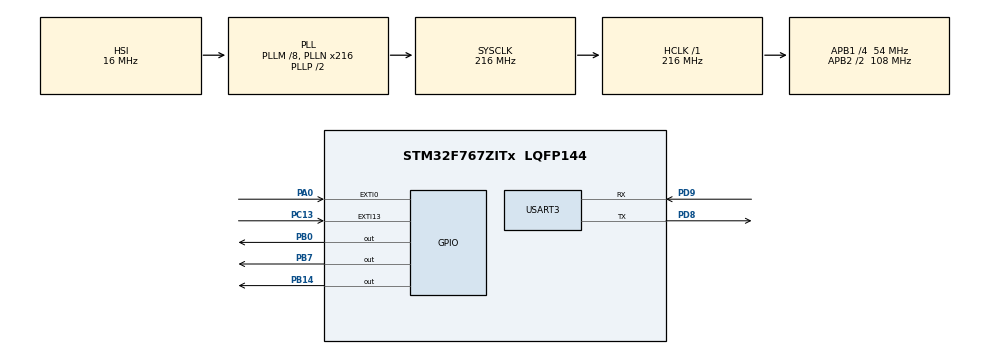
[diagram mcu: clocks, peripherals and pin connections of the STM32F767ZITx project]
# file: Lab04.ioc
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CORTEX_M7.default_mode_Activation=1
Mcu.Family=STM32F7
Mcu.Name=STM32F767ZITx
Mcu.Package=LQFP144
NVIC.EXTI0_IRQn=true\:1\:0\:true\:false\:true\:true\:true\:true
NVIC.EXTI15_10_IRQn=true\:1\:1\:true\:false\:true\:true\:true\:true
NVIC.PriorityGroup=NVIC_PRIORITYGROUP_1
PA0/WKUP.GPIO_ModeDefaultEXTI=GPIO_MODE_IT_FALLING
PA0/WKUP.Signal=GPXTI0
PB0.Signal=GPIO_Output
PB14.Signal=GPIO_Output
PB7.Signal=GPIO_Output
PC13.Signal=GPXTI13
PD8.Mode=Asynchronous
PD8.Signal=USART3_TX
PD9.Mode=Asynchronous
PD9.Signal=USART3_RX
ProjectManager.HeapSize=0x200
ProjectManager.StackSize=0x400
ProjectManager.TargetToolchain=STM32CubeIDE
RCC.AHBFreq_Value=216000000
RCC.APB1CLKDivider=RCC_HCLK_DIV4
RCC.APB1Freq_Value=54000000
RCC.APB1TimFreq_Value=108000000
RCC.APB2CLKDivider=RCC_HCLK_DIV2
RCC.APB2Freq_Value=108000000
RCC.APB2TimFreq_Value=216000000
RCC.CortexFreq_Value=216000000
RCC.HCLKFreq_Value=216000000
RCC.HSE_VALUE=25000000
RCC.HSI_VALUE=16000000
RCC.LSE_VALUE=32768
RCC.PLLM=8
RCC.PLLN=216
RCC.SYSCLKFreq_VALUE=216000000
RCC.SYSCLKSource=RCC_SYSCLKSOURCE_PLLCLK
RCC.USBFreq_Value=216000000
RCC.VCOOutputFreq_Value=432000000
USART3.VirtualMode-Asynchronous=VM_ASYNC
board=custom

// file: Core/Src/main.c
/* USER CODE BEGIN Header */
/**
  ******************************************************************************
  * @file           : main.c
  * @brief          : Main program body
  ******************************************************************************
  * @attention
  *
  * Copyright (c) 2025 STMicroelectronics.
  * All rights reserved.
  *
  * This software is licensed under terms that can be found in the LICENSE file
  * in the root directory of this software component.
  * If no LICENSE file comes with this software, it is provided AS-IS.
  *
  ******************************************************************************
  */
/* USER CODE END Header */
#include "main.h"
#include "usart.h"
#include "gpio.h"

/* USER CODE BEGIN Includes */
#include "string.h"
/* USER CODE END Includes */

void SystemClock_Config(void);
static void MPU_Config(void);

int main(void)
{

  /* MPU Configuration--------------------------------------------------------*/
  MPU_Config();

  /* MCU Configuration--------------------------------------------------------*/

  /* Reset of all peripherals, Initializes the Flash interface and the Systick. */
  HAL_Init();

  /* Configure the system clock */
  SystemClock_Config();

  /* Initialize all configured peripherals */
  MX_GPIO_Init();
  MX_USART3_UART_Init();
  /* USER CODE BEGIN 2 */
  HAL_Delay(500);
  /* USER CODE END 2 */

  /* Infinite loop */
  while (1)
  {

    /* USER CODE BEGIN 3 */
//	  HAL_GPIO_WritePin(GPIOB, GPIO_PIN_14, GPIO_PIN_RESET);
	  while(__HAL_UART_GET_FLAG(&huart3,UART_FLAG_TC)==RESET){}
	  HAL_UART_Transmit(&huart3,(uint8_t *) ".", 1, 100);
	  HAL_Delay(400);
  }
  /* USER CODE END 3 */
}

void SystemClock_Config(void)
{
  RCC_OscInitTypeDef RCC_OscInitStruct = {0};
  RCC_ClkInitTypeDef RCC_ClkInitStruct = {0};

  /** Configure the main internal regulator output voltage
  */
  __HAL_RCC_PWR_CLK_ENABLE();
  __HAL_PWR_VOLTAGESCALING_CONFIG(PWR_REGULATOR_VOLTAGE_SCALE1);

  /** Initializes the RCC Oscillators according to the specified parameters
  * in the RCC_OscInitTypeDef structure.
  */
  RCC_OscInitStruct.OscillatorType = RCC_OSCILLATORTYPE_HSI;
  RCC_OscInitStruct.HSIState = RCC_HSI_ON;
  RCC_OscInitStruct.HSICalibrationValue = RCC_HSICALIBRATION_DEFAULT;
  RCC_OscInitStruct.PLL.PLLState = RCC_PLL_ON;
  RCC_OscInitStruct.PLL.PLLSource = RCC_PLLSOURCE_HSI;
  RCC_OscInitStruct.PLL.PLLM = 8;
  RCC_OscInitStruct.PLL.PLLN = 216;
  RCC_OscInitStruct.PLL.PLLP = RCC_PLLP_DIV2;
  RCC_OscInitStruct.PLL.PLLQ = 2;
  RCC_OscInitStruct.PLL.PLLR = 2;
  if (HAL_RCC_OscConfig(&RCC_OscInitStruct) != HAL_OK)
  {
    Error_Handler();
  }

  /** Activate the Over-Drive mode
  */
  if (HAL_PWREx_EnableOverDrive() != HAL_OK)
  {
    Error_Handler();
  }

  /** Initializes the CPU, AHB and APB buses clocks
  */
  RCC_ClkInitStruct.ClockType = RCC_CLOCKTYPE_HCLK|RCC_CLOCKTYPE_SYSCLK
                              |RCC_CLOCKTYPE_PCLK1|RCC_CLOCKTYPE_PCLK2;
  RCC_ClkInitStruct.SYSCLKSource = RCC_SYSCLKSOURCE_PLLCLK;
  RCC_ClkInitStruct.AHBCLKDivider = RCC_SYSCLK_DIV1;
  RCC_ClkInitStruct.APB1CLKDivider = RCC_HCLK_DIV4;
  RCC_ClkInitStruct.APB2CLKDivider = RCC_HCLK_DIV2;

  if (HAL_RCC_ClockConfig(&RCC_ClkInitStruct, FLASH_LATENCY_7) != HAL_OK)
  {
    Error_Handler();
  }
}

/* USER CODE BEGIN 4 */
void HAL_GPIO_EXTI_Callback(uint16_t GPIO_Pin) {
	if (GPIO_Pin == GPIO_PIN_13) {
		HAL_UART_Transmit(&huart3, (uint8_t *) "---", 3, 1000);
		HAL_Delay(200);

		char ch1 = 'B';
		for(int i=0; i<20; i++)
		{
		HAL_UART_Transmit(&huart3, &ch1, 1, 1000);
		HAL_Delay(200);
		}
	}
	if (GPIO_Pin == GPIO_PIN_0) {
		HAL_UART_Transmit(&huart3, (uint8_t *) "---", 3, 1000);
		HAL_Delay(200);

		char ch1 = 'E';
		for(int i=0; i<20; i++)
		{
		HAL_UART_Transmit(&huart3, &ch1, 1, 1000);
		HAL_Delay(200);
		}
	}
}
/* USER CODE END 4 */

 /* MPU Configuration */

void MPU_Config(void)
{
  MPU_Region_InitTypeDef MPU_InitStruct = {0};

  /* Disables the MPU */
  HAL_MPU_Disable();

  /** Initializes and configures the Region and the memory to be protected
  */
  MPU_InitStruct.Enable = MPU_REGION_ENABLE;
  MPU_InitStruct.Number = MPU_REGION_NUMBER0;
  MPU_InitStruct.BaseAddress = 0x0;
  MPU_InitStruct.Size = MPU_REGION_SIZE_4GB;
  MPU_InitStruct.SubRegionDisable = 0x87;
  MPU_InitStruct.TypeExtField = MPU_TEX_LEVEL0;
  MPU_InitStruct.AccessPermission = MPU_REGION_NO_ACCESS;
  MPU_InitStruct.DisableExec = MPU_INSTRUCTION_ACCESS_DISABLE;
  MPU_InitStruct.IsShareable = MPU_ACCESS_SHAREABLE;
  MPU_InitStruct.IsCacheable = MPU_ACCESS_NOT_CACHEABLE;
  MPU_InitStruct.IsBufferable = MPU_ACCESS_NOT_BUFFERABLE;

  HAL_MPU_ConfigRegion(&MPU_InitStruct);
  /* Enables the MPU */
  HAL_MPU_Enable(MPU_PRIVILEGED_DEFAULT);

}

void Error_Handler(void)
{
  __disable_irq();
  while (1)
  {
  }
}
